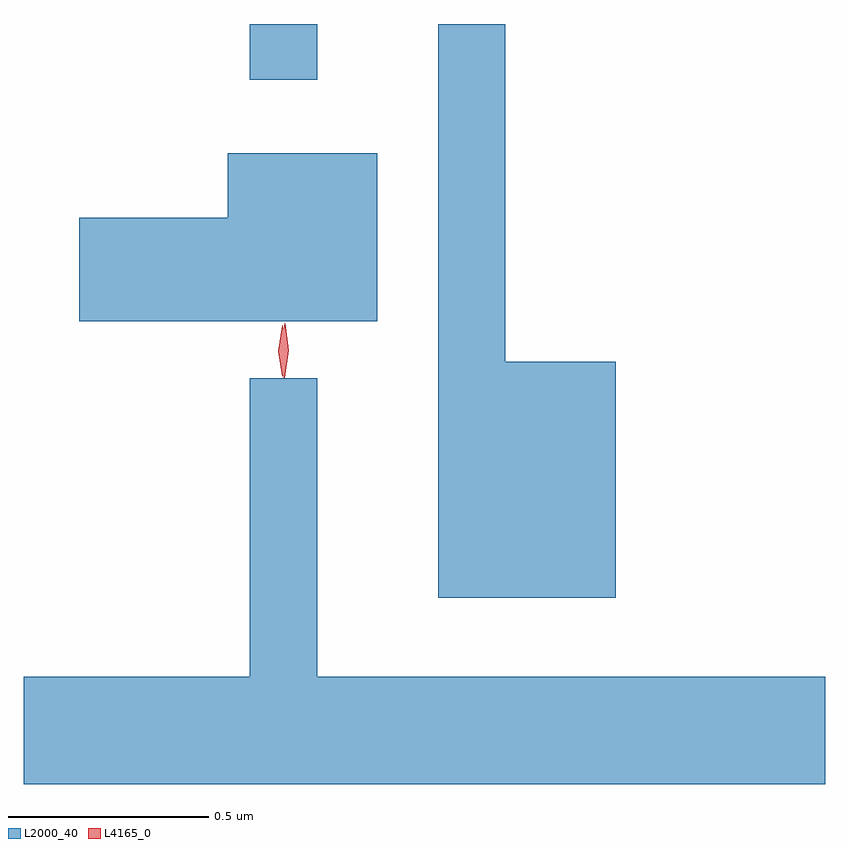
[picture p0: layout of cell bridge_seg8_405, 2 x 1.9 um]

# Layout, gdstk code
import gdstk
lib = gdstk.Library(unit=1e-6, precision=1e-09)
def R(c, l, rs):  # rectangles x0, y0, x1, y1
    for r in rs: c.add(gdstk.rectangle(r[:2], r[2:], *l))
def P(c, l, *ps):  # polygons
    for p in ps: c.add(gdstk.Polygon(p, *l))
L2000_40 = (2000, 40)
L4165_0 = (4165, 0)

bridge_seg8_405 = lib.new_cell('bridge_seg8_405')
R(bridge_seg8_405, L2000_40, [(776.271,1827.073,776.439,1827.212)])
P(bridge_seg8_405, L2000_40, [(777.184,1826.369),(776.909,1826.369),(776.909,1827.212),(776.741,1827.212),(776.741,1825.781),(777.184,1825.781)],
  [(776.589,1826.889),(776.216,1826.889),(776.216,1826.729),(775.846,1826.729),(775.846,1826.471),(776.589,1826.471)],
  [(777.707,1825.584),(776.439,1825.584),(776.439,1826.328),(776.271,1826.328),(776.271,1825.584),(775.707,1825.584),(775.707,1825.316),(777.707,1825.316)])
P(bridge_seg8_405, L4165_0, [(776.356,1826.33),(776.348,1826.398),(776.358,1826.465),(776.359,1826.466),(776.359,1826.465),(776.368,1826.398),(776.358,1826.33),(776.357,1826.33)],
  [(776.352,1826.333),(776.352,1826.333),(776.342,1826.396),(776.352,1826.459),(776.352,1826.46),(776.353,1826.459),(776.362,1826.396),(776.353,1826.333)])

lib.write_gds('bridge_seg8_405.gds')
